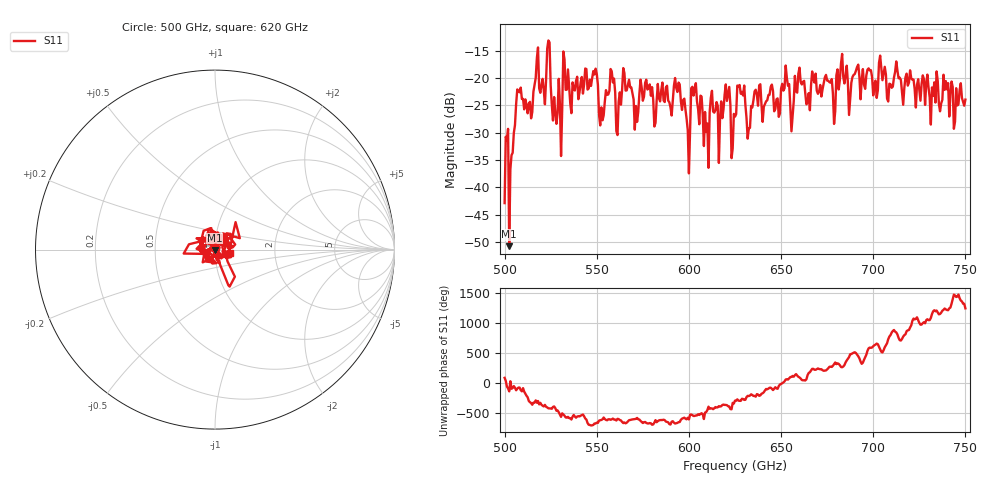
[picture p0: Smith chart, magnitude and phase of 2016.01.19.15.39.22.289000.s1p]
!Created with skrf (http://scikit-rf.org).
# GHz S RI R 50.0
!freq ReS11 ImS11
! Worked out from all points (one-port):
!   401 points, 500 GHz to 750 GHz, reference 50 ohm
!   lowest |S11| = -50.8 dB at 502.5 GHz (marker M1), VSWR 1.01, Z = 49.8 - j0.162 ohm
!   |S11| at or under -10 dB: start of sweep to end of sweep
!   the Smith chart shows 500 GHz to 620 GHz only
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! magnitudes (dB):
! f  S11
! 500 GHz  -42.9
! 502.5 GHz  -50.8
! 503.8 GHz  -34.1
! 507.5 GHz  -22.4
! 513.8 GHz  -24.3
! 516.9 GHz  -20.0
! 520.6 GHz  -20.1
! 523.8 GHz  -13.1
! 526.9 GHz  -23.5
! 531.2 GHz  -25.6
! 548.8 GHz  -19.3
! 552.5 GHz  -25.3
! 558.1 GHz  -18.7
! 562.5 GHz  -22.6
! 593.8 GHz  -22.5
! 599.4 GHz  -29.6
! 602.5 GHz  -23.2
! 609.4 GHz  -29.8
! 620.6 GHz  -24.2
! 625 GHz  -27.1
! 627.5 GHz  -21.3
! 632.5 GHz  -29.2
! 653.1 GHz  -19.9
! 656.2 GHz  -27.1
! 660.6 GHz  -20.7
! 687.5 GHz  -23.8
! 718.8 GHz  -21.4
! 750 GHz  -23.9
